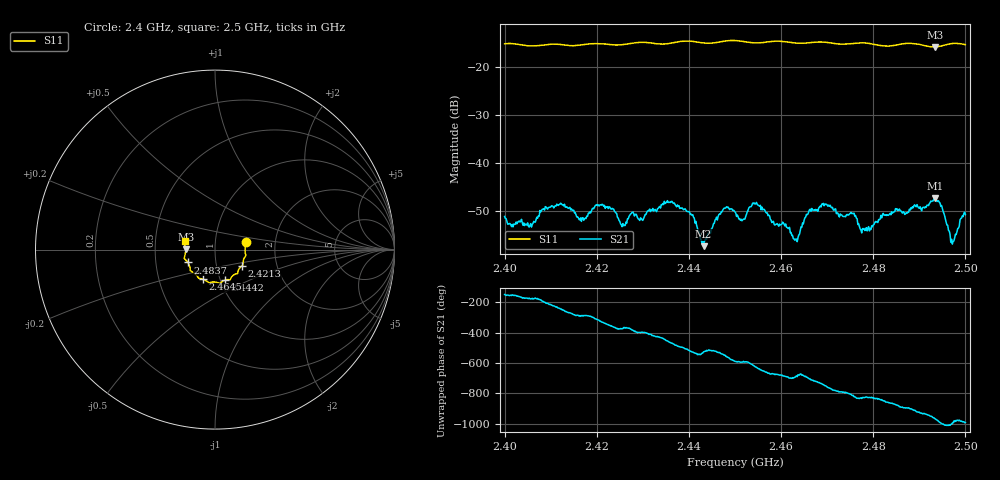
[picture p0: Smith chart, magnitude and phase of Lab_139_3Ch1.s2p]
# Hz S RI R 50
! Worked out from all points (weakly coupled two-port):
!   601 points, 2.4 GHz to 2.5 GHz, reference 50 ohm
!   highest |S21| = -47.36 dB at 2.4935 GHz (marker M1); lowest = -57.4 dB at 2.4432 GHz (marker M2)
!   lowest |S11| = -15.7 dB at 2.4935 GHz (marker M3), VSWR 1.39, Z = 35.9 + j0.295 ohm
!   |S11| at or under -10 dB: start of sweep to end of sweep
!   S12 and S22 are empty: the file has one direction only
!   S11 on the Smith chart (normalised r, x): 2.4 GHz: 1.41, +0.12; 2.4213 GHz: 1.33, -0.25; 2.4442 GHz: 1.05, -0.37; 2.4645 GHz: 0.83, -0.29; 2.4837 GHz: 0.73, -0.11; 2.5 GHz: 0.71, +0.07
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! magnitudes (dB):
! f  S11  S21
! 2.4 GHz  -15.1  -51.2
! 2.4057 GHz  -15.5  -52.6
! 2.4118 GHz  -15.2  -48.7
! 2.4167 GHz  -15.3  -52.2
! 2.4213 GHz  -15.1  -48.7
! 2.4257 GHz  -15.2  -52.6
! 2.4333 GHz  -15.1  -49.5
! 2.4397 GHz  -14.5  -50.1
! 2.4432 GHz  -14.9  -57.4
! 2.4442 GHz  -15.0  -54.7
! 2.4477 GHz  -14.5  -49.4
! 2.45 GHz  -14.4  -50.2
! 2.455 GHz  -14.9  -48.8
! 2.4632 GHz  -14.9  -55.9
! 2.4645 GHz  -15.0  -53.4
! 2.4667 GHz  -14.8  -49.5
! 2.4778 GHz  -14.9  -53.8
! 2.4833 GHz  -15.6  -50.9
! 2.4837 GHz  -15.5  -50.5
! 2.4935 GHz  -15.7  -47.4
! 2.4972 GHz  -15.0  -56.9
! 2.5 GHz  -15.3  -50.7
